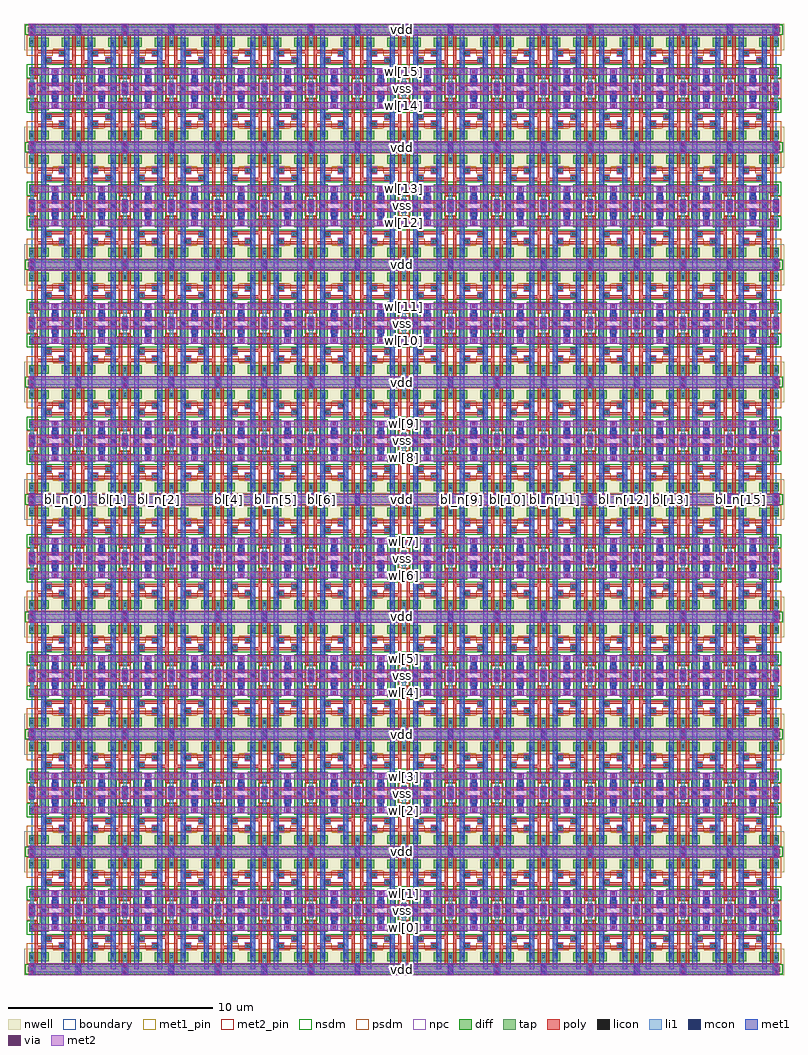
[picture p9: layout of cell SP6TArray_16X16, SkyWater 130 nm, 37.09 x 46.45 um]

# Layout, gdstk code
from math import pi, radians
import gdstk
lib = gdstk.Library(unit=1e-6, precision=1e-09)
def R(c, l, rs):  # rectangles x0, y0, x1, y1
    for r in rs: c.add(gdstk.rectangle(r[:2], r[2:], *l))
def A(c, l, x, y, w, h, nx, ny, dx, dy):  # array of equal rectangles
    R(c, l, [(x+i*dx, y+j*dy, x+i*dx+w, y+j*dy+h) for i in range(nx) for j in range(ny)])
def P(c, l, *ps):  # polygons
    for p in ps: c.add(gdstk.Polygon(p, *l))
nwell = (64, 20)
diff = (65, 20)
tap = (65, 44)
poly = (66, 20)
licon = (66, 44)
li1 = (67, 20)
mcon = (67, 44)
met1_pin = (68, 16)
met1 = (68, 20)
via = (68, 44)
met2_pin = (69, 16)
met2 = (69, 20)
nsdm = (93, 44)
psdm = (94, 20)
npc = (95, 20)
boundary = (235, 4)

sp6tcell = lib.new_cell('SP6TCell')
R(sp6tcell, nwell, [(-0.385,1.87,2.655,3.17)])
R(sp6tcell, diff, [(-0.125,2.05,0.815,2.47), (1.455,2.05,2.395,2.47)])
P(sp6tcell, diff, [(1.455,-0.125),(1.455,1.05),(2.395,1.05),(2.395,0.63),(1.875,0.63),(1.875,-0.125)],
  [(0.395,-0.125),(0.395,0.63),(-0.125,0.63),(-0.125,1.05),(0.815,1.05),(0.815,-0.125)])
R(sp6tcell, tap, [(-0.125,-0.36,0.125,0.36), (2.145,-0.36,2.395,0.36), (-0.205,2.74,2.475,2.99)])
P(sp6tcell, poly, [(1.98,0.5),(1.98,1.235),(0.61,1.235),(0.61,1.505),(0.94,1.505),(0.94,1.385),(1.98,1.385),(1.98,2.6),(2.13,2.6),(2.13,0.5)],
  [(0.14,0.5),(0.14,2.6),(0.29,2.6),(0.29,1.865),(1.66,1.865),(1.66,1.595),(1.33,1.595),(1.33,1.715),(0.29,1.715),(0.29,0.5)],
  [(0.265,0.14),(0.265,0.29),(1,0.29),(1,0.47),(1.27,0.47),(1.27,0.29),(2.005,0.29),(2.005,0.14)])
R(sp6tcell, licon, [(-0.085,-0.085,0.085,0.085), (0.52,-0.085,0.69,0.085), (1.58,-0.085,1.75,0.085), (2.185,-0.085,2.355,0.085), (1.05,0.22,1.22,0.39), (-0.085,0.755,0.085,0.925), (2.185,0.755,2.355,0.925), (0.525,0.84,0.695,1.01), (1.575,0.84,1.745,1.01), (0.69,1.285,0.86,1.455), (1.41,1.645,1.58,1.815), (0.525,2.09,0.695,2.26), (1.575,2.09,1.745,2.26), (-0.085,2.175,0.085,2.345), (2.185,2.175,2.355,2.345), (-0.085,2.78,0.085,2.95), (2.185,2.78,2.355,2.95)])
R(sp6tcell, li1, [(-0.085,-0.265,0.085,1.005), (2.185,-0.265,2.355,1.005), (0.48,-0.165,0.69,0.165), (1.58,-0.165,1.79,0.165), (1.05,0.14,1.22,0.67)])
P(sp6tcell, li1, [(-0.085,2.095),(-0.085,3.13),(0.085,3.13),(0.085,3.03),(2.185,3.03),(2.185,3.13),(2.355,3.13),(2.355,2.095),(2.185,2.095),(2.185,2.7),(0.085,2.7),(0.085,2.095)],
  [(1.575,0.76),(1.575,1.645),(1.33,1.645),(1.33,1.815),(1.575,1.815),(1.575,2.34),(1.745,2.34),(1.745,0.76)],
  [(0.525,0.76),(0.525,2.34),(0.695,2.34),(0.695,1.455),(0.94,1.455),(0.94,1.285),(0.695,1.285),(0.695,0.76)])
R(sp6tcell, mcon, [(-0.085,-0.265,0.085,-0.095), (2.185,-0.265,2.355,-0.095), (0.48,-0.085,0.65,0.085), (1.62,-0.085,1.79,0.085), (-0.085,0.095,0.085,0.265), (2.185,0.095,2.355,0.265), (1.05,0.14,1.22,0.31), (1.05,0.5,1.22,0.67), (-0.085,2.6,0.085,2.77), (2.185,2.6,2.355,2.77), (-0.085,2.96,0.085,3.13), (2.185,2.96,2.355,3.13)])
R(sp6tcell, met1_pin, [(0.45,-0.145,0.68,2.865), (1.59,-0.145,1.82,2.865)])
R(sp6tcell, met1, [(0.45,-0.145,0.68,2.865), (1.59,-0.145,1.82,2.865), (2.125,2.57,2.415,3.16)])
P(sp6tcell, met1, [(0.99,0.11),(0.99,0.7),(0.975,0.7),(0.975,0.96),(1.295,0.96),(1.295,0.7),(1.28,0.7),(1.28,0.11)],
  [(-0.145,-0.295),(-0.145,-0.29),(-0.16,-0.29),(-0.16,0.29),(-0.145,0.29),(-0.145,0.295),(0.145,0.295),(0.145,0.29),(0.16,0.29),(0.16,-0.29),(0.145,-0.29),(0.145,-0.295)],
  [(2.125,-0.295),(2.125,-0.29),(2.11,-0.29),(2.11,0.29),(2.125,0.29),(2.125,0.295),(2.415,0.295),(2.415,0.29),(2.43,0.29),(2.43,-0.29),(2.415,-0.29),(2.415,-0.295)],
  [(-0.145,2.57),(-0.145,2.575),(-0.16,2.575),(-0.16,3.155),(-0.145,3.155),(-0.145,3.16),(0.145,3.16),(0.145,3.155),(0.16,3.155),(0.16,2.575),(0.145,2.575),(0.145,2.57)])
R(sp6tcell, via, [(-0.075,-0.235,0.075,-0.085), (2.195,-0.235,2.345,-0.085), (-0.075,0.085,0.075,0.235), (2.195,0.085,2.345,0.235), (1.06,0.755,1.21,0.905), (-0.075,2.63,0.075,2.78), (-0.075,2.95,0.075,3.1)])
R(sp6tcell, met2_pin, [(-0.16,-0.29,2.43,0.29), (0,0.67,2.27,0.99), (-0.16,2.575,2.43,3.155)])
R(sp6tcell, met2, [(-0.16,-0.29,2.43,0.29), (0,0.67,2.27,0.99), (-0.16,2.575,2.43,3.155)])
R(sp6tcell, nsdm, [(-0.33,2.615,2.6,3.115)])
P(sp6tcell, nsdm, [(0.27,-0.25),(0.27,0.505),(-0.25,0.505),(-0.25,1.175),(2.52,1.175),(2.52,0.505),(2,0.505),(2,-0.25)])
R(sp6tcell, psdm, [(-0.25,-0.485,0.25,0.485), (2.02,-0.485,2.52,0.485)])
P(sp6tcell, psdm, [(-0.25,1.595),(-0.25,2.595),(2.52,2.595),(2.52,1.595),(1.98,1.595),(1.98,1.925),(1.01,1.925),(1.01,1.595)])
R(sp6tcell, npc, [(0.95,0.12,1.32,0.49), (0.59,1.185,0.96,1.555), (1.31,1.545,1.68,1.915)])
R(sp6tcell, boundary, [(0,0,2.27,2.865)])
sp6tcell.add(gdstk.Label('wl', (1.135,0.83), layer=69, texttype=16))
sp6tcell.add(gdstk.Label('vdd', (1.135,2.865), layer=69, texttype=16))
sp6tcell.add(gdstk.Label('vss', (1.135,0), layer=69, texttype=16))
sp6tcell.add(gdstk.Label('bl_n', (1.705,1.36), layer=68, texttype=16))
sp6tcell.add(gdstk.Label('bl', (0.565,1.36), layer=68, texttype=16))

sp6tarray_2x1 = lib.new_cell('SP6TArray_2X1')
R(sp6tarray_2x1, met1_pin, [(0.45,0,0.68,5.73), (1.59,0,1.82,5.73)])
R(sp6tarray_2x1, met1, [(0.45,0,0.68,5.73), (1.59,0,1.82,5.73)])
A(sp6tarray_2x1, met2_pin, -0.16, -0.29, 2.43, 0.58, 1, 3, 0, 2.865)
R(sp6tarray_2x1, met2_pin, [(0,1.875,2.27,2.195), (0,3.535,2.27,3.855)])
A(sp6tarray_2x1, met2, -0.16, -0.29, 2.43, 0.58, 1, 3, 0, 2.865)
R(sp6tarray_2x1, met2, [(0,1.875,2.27,2.195), (0,3.535,2.27,3.855)])
R(sp6tarray_2x1, boundary, [(0,0,2.27,5.73)])
sp6tarray_2x1.add(gdstk.Reference(sp6tcell, (0,2.865)))
sp6tarray_2x1.add(gdstk.Reference(sp6tcell, (0,2.865), x_reflection=True))
sp6tarray_2x1.add(gdstk.Label('wl[1]', (1.135,3.695), layer=69, texttype=16))
sp6tarray_2x1.add(gdstk.Label('wl[0]', (1.135,2.035), layer=69, texttype=16))
sp6tarray_2x1.add(gdstk.Label('vdd', (1.055,0), layer=69, texttype=16))
sp6tarray_2x1.add(gdstk.Label('vdd', (1.055,5.73), layer=69, texttype=16))
sp6tarray_2x1.add(gdstk.Label('vss', (1.055,2.865), layer=69, texttype=16))
sp6tarray_2x1.add(gdstk.Label('bl_n[0]', (1.705,2.865), layer=68, texttype=16))
sp6tarray_2x1.add(gdstk.Label('bl[0]', (0.565,2.865), layer=68, texttype=16))

sp6tarray_2x2 = lib.new_cell('SP6TArray_2X2')
R(sp6tarray_2x2, met1_pin, [(0.45,0,0.68,5.73), (1.59,0,1.82,5.73), (2.72,0,2.95,5.73), (3.86,0,4.09,5.73)])
R(sp6tarray_2x2, met1, [(0.45,0,0.68,5.73), (1.59,0,1.82,5.73), (2.72,0,2.95,5.73), (3.86,0,4.09,5.73)])
A(sp6tarray_2x2, met2_pin, -0.16, -0.29, 4.7, 0.58, 1, 3, 0, 2.865)
R(sp6tarray_2x2, met2_pin, [(0,1.875,4.54,2.195), (0,3.535,4.54,3.855)])
A(sp6tarray_2x2, met2, -0.16, -0.29, 4.7, 0.58, 1, 3, 0, 2.865)
R(sp6tarray_2x2, met2, [(0,1.875,4.54,2.195), (0,3.535,4.54,3.855)])
R(sp6tarray_2x2, boundary, [(0,0,4.54,5.73)])
sp6tarray_2x2.add(gdstk.Reference(sp6tarray_2x1, (4.54,0), rotation=pi, x_reflection=True))
sp6tarray_2x2.add(gdstk.Reference(sp6tarray_2x1, (0,0)))
sp6tarray_2x2.add(gdstk.Label('wl[1]', (2.27,3.695), layer=69, texttype=16))
sp6tarray_2x2.add(gdstk.Label('wl[0]', (2.27,2.035), layer=69, texttype=16))
sp6tarray_2x2.add(gdstk.Label('vdd', (2.19,0), layer=69, texttype=16))
sp6tarray_2x2.add(gdstk.Label('vdd', (2.19,5.73), layer=69, texttype=16))
sp6tarray_2x2.add(gdstk.Label('vss', (2.19,2.865), layer=69, texttype=16))
sp6tarray_2x2.add(gdstk.Label('bl_n[1]', (2.835,2.865), layer=68, texttype=16))
sp6tarray_2x2.add(gdstk.Label('bl[1]', (3.975,2.865), layer=68, texttype=16))
sp6tarray_2x2.add(gdstk.Label('bl_n[0]', (1.705,2.865), layer=68, texttype=16))
sp6tarray_2x2.add(gdstk.Label('bl[0]', (0.565,2.865), layer=68, texttype=16))

sp6tarray_4x2 = lib.new_cell('SP6TArray_4X2')
R(sp6tarray_4x2, met1_pin, [(0.45,0,0.68,11.46), (1.59,0,1.82,11.46), (2.72,0,2.95,11.46), (3.86,0,4.09,11.46)])
R(sp6tarray_4x2, met1, [(0.45,0,0.68,11.46), (1.59,0,1.82,11.46), (2.72,0,2.95,11.46), (3.86,0,4.09,11.46)])
A(sp6tarray_4x2, met2_pin, -0.16, -0.29, 4.7, 0.58, 1, 5, 0, 2.865)
R(sp6tarray_4x2, met2_pin, [(0,1.875,4.54,2.195), (0,3.535,4.54,3.855), (0,7.605,4.54,7.925), (0,9.265,4.54,9.585)])
A(sp6tarray_4x2, met2, -0.16, -0.29, 4.7, 0.58, 1, 5, 0, 2.865)
R(sp6tarray_4x2, met2, [(0,1.875,4.54,2.195), (0,3.535,4.54,3.855), (0,7.605,4.54,7.925), (0,9.265,4.54,9.585)])
R(sp6tarray_4x2, boundary, [(0,0,4.54,11.46)])
sp6tarray_4x2.add(gdstk.Reference(sp6tarray_2x2, (0,0)))
sp6tarray_4x2.add(gdstk.Reference(sp6tarray_2x2, (0,5.73)))
sp6tarray_4x2.add(gdstk.Label('wl[3]', (2.27,9.425), layer=69, texttype=16))
sp6tarray_4x2.add(gdstk.Label('wl[2]', (2.27,7.765), layer=69, texttype=16))
sp6tarray_4x2.add(gdstk.Label('wl[1]', (2.27,3.695), layer=69, texttype=16))
sp6tarray_4x2.add(gdstk.Label('wl[0]', (2.27,2.035), layer=69, texttype=16))
sp6tarray_4x2.add(gdstk.Label('vdd', (2.19,0), layer=69, texttype=16))
sp6tarray_4x2.add(gdstk.Label('vdd', (2.19,5.73), layer=69, texttype=16))
sp6tarray_4x2.add(gdstk.Label('vdd', (2.19,11.46), layer=69, texttype=16))
sp6tarray_4x2.add(gdstk.Label('vss', (2.19,2.865), layer=69, texttype=16))
sp6tarray_4x2.add(gdstk.Label('vss', (2.19,8.595), layer=69, texttype=16))
sp6tarray_4x2.add(gdstk.Label('bl_n[1]', (2.835,5.73), layer=68, texttype=16))
sp6tarray_4x2.add(gdstk.Label('bl[1]', (3.975,5.73), layer=68, texttype=16))
sp6tarray_4x2.add(gdstk.Label('bl_n[0]', (1.705,5.73), layer=68, texttype=16))
sp6tarray_4x2.add(gdstk.Label('bl[0]', (0.565,5.73), layer=68, texttype=16))

sp6tarray_4x4 = lib.new_cell('SP6TArray_4X4')
R(sp6tarray_4x4, met1_pin, [(0.45,0,0.68,11.46), (1.59,0,1.82,11.46), (2.72,0,2.95,11.46), (3.86,0,4.09,11.46), (4.99,0,5.22,11.46), (6.13,0,6.36,11.46), (7.26,0,7.49,11.46), (8.4,0,8.63,11.46)])
R(sp6tarray_4x4, met1, [(0.45,0,0.68,11.46), (1.59,0,1.82,11.46), (2.72,0,2.95,11.46), (3.86,0,4.09,11.46), (4.99,0,5.22,11.46), (6.13,0,6.36,11.46), (7.26,0,7.49,11.46), (8.4,0,8.63,11.46)])
A(sp6tarray_4x4, met2_pin, -0.16, -0.29, 9.24, 0.58, 1, 5, 0, 2.865)
R(sp6tarray_4x4, met2_pin, [(0,1.875,9.08,2.195), (0,3.535,9.08,3.855), (0,7.605,9.08,7.925), (0,9.265,9.08,9.585)])
A(sp6tarray_4x4, met2, -0.16, -0.29, 9.24, 0.58, 1, 5, 0, 2.865)
R(sp6tarray_4x4, met2, [(0,1.875,9.08,2.195), (0,3.535,9.08,3.855), (0,7.605,9.08,7.925), (0,9.265,9.08,9.585)])
R(sp6tarray_4x4, boundary, [(0,0,9.08,11.46)])
sp6tarray_4x4.add(gdstk.Reference(sp6tarray_4x2, (0,0)))
sp6tarray_4x4.add(gdstk.Reference(sp6tarray_4x2, (4.54,0)))
sp6tarray_4x4.add(gdstk.Label('wl[3]', (4.54,9.425), layer=69, texttype=16))
sp6tarray_4x4.add(gdstk.Label('wl[2]', (4.54,7.765), layer=69, texttype=16))
sp6tarray_4x4.add(gdstk.Label('wl[1]', (4.54,3.695), layer=69, texttype=16))
sp6tarray_4x4.add(gdstk.Label('wl[0]', (4.54,2.035), layer=69, texttype=16))
sp6tarray_4x4.add(gdstk.Label('vdd', (4.46,0), layer=69, texttype=16))
sp6tarray_4x4.add(gdstk.Label('vdd', (4.46,5.73), layer=69, texttype=16))
sp6tarray_4x4.add(gdstk.Label('vdd', (4.46,11.46), layer=69, texttype=16))
sp6tarray_4x4.add(gdstk.Label('vss', (4.46,2.865), layer=69, texttype=16))
sp6tarray_4x4.add(gdstk.Label('vss', (4.46,8.595), layer=69, texttype=16))
sp6tarray_4x4.add(gdstk.Label('bl_n[3]', (7.375,5.73), layer=68, texttype=16))
sp6tarray_4x4.add(gdstk.Label('bl[3]', (8.515,5.73), layer=68, texttype=16))
sp6tarray_4x4.add(gdstk.Label('bl_n[2]', (6.245,5.73), layer=68, texttype=16))
sp6tarray_4x4.add(gdstk.Label('bl[2]', (5.105,5.73), layer=68, texttype=16))
sp6tarray_4x4.add(gdstk.Label('bl_n[1]', (2.835,5.73), layer=68, texttype=16))
sp6tarray_4x4.add(gdstk.Label('bl[1]', (3.975,5.73), layer=68, texttype=16))
sp6tarray_4x4.add(gdstk.Label('bl_n[0]', (1.705,5.73), layer=68, texttype=16))
sp6tarray_4x4.add(gdstk.Label('bl[0]', (0.565,5.73), layer=68, texttype=16))

sp6tarray_8x4 = lib.new_cell('SP6TArray_8X4')
R(sp6tarray_8x4, met1_pin, [(0.45,0,0.68,22.92), (1.59,0,1.82,22.92), (2.72,0,2.95,22.92), (3.86,0,4.09,22.92), (4.99,0,5.22,22.92), (6.13,0,6.36,22.92), (7.26,0,7.49,22.92), (8.4,0,8.63,22.92)])
R(sp6tarray_8x4, met1, [(0.45,0,0.68,22.92), (1.59,0,1.82,22.92), (2.72,0,2.95,22.92), (3.86,0,4.09,22.92), (4.99,0,5.22,22.92), (6.13,0,6.36,22.92), (7.26,0,7.49,22.92), (8.4,0,8.63,22.92)])
A(sp6tarray_8x4, met2_pin, -0.16, -0.29, 9.24, 0.58, 1, 9, 0, 2.865)
R(sp6tarray_8x4, met2_pin, [(0,1.875,9.08,2.195), (0,3.535,9.08,3.855), (0,7.605,9.08,7.925), (0,9.265,9.08,9.585), (0,13.335,9.08,13.655), (0,14.995,9.08,15.315), (0,19.065,9.08,19.385), (0,20.725,9.08,21.045)])
A(sp6tarray_8x4, met2, -0.16, -0.29, 9.24, 0.58, 1, 9, 0, 2.865)
R(sp6tarray_8x4, met2, [(0,1.875,9.08,2.195), (0,3.535,9.08,3.855), (0,7.605,9.08,7.925), (0,9.265,9.08,9.585), (0,13.335,9.08,13.655), (0,14.995,9.08,15.315), (0,19.065,9.08,19.385), (0,20.725,9.08,21.045)])
R(sp6tarray_8x4, boundary, [(0,0,9.08,22.92)])
sp6tarray_8x4.add(gdstk.Reference(sp6tarray_4x4, (0,0)))
sp6tarray_8x4.add(gdstk.Reference(sp6tarray_4x4, (0,11.46)))
sp6tarray_8x4.add(gdstk.Label('wl[5]', (4.54,15.155), layer=69, texttype=16))
sp6tarray_8x4.add(gdstk.Label('wl[4]', (4.54,13.495), layer=69, texttype=16))
sp6tarray_8x4.add(gdstk.Label('wl[3]', (4.54,9.425), layer=69, texttype=16))
sp6tarray_8x4.add(gdstk.Label('wl[6]', (4.54,19.225), layer=69, texttype=16))
sp6tarray_8x4.add(gdstk.Label('wl[2]', (4.54,7.765), layer=69, texttype=16))
sp6tarray_8x4.add(gdstk.Label('wl[7]', (4.54,20.885), layer=69, texttype=16))
sp6tarray_8x4.add(gdstk.Label('wl[1]', (4.54,3.695), layer=69, texttype=16))
sp6tarray_8x4.add(gdstk.Label('wl[0]', (4.54,2.035), layer=69, texttype=16))
sp6tarray_8x4.add(gdstk.Label('vdd', (4.46,0), layer=69, texttype=16))
sp6tarray_8x4.add(gdstk.Label('vdd', (4.46,5.73), layer=69, texttype=16))
sp6tarray_8x4.add(gdstk.Label('vdd', (4.46,11.46), layer=69, texttype=16))
sp6tarray_8x4.add(gdstk.Label('vdd', (4.46,17.19), layer=69, texttype=16))
sp6tarray_8x4.add(gdstk.Label('vdd', (4.46,22.92), layer=69, texttype=16))
sp6tarray_8x4.add(gdstk.Label('vss', (4.46,2.865), layer=69, texttype=16))
sp6tarray_8x4.add(gdstk.Label('vss', (4.46,8.595), layer=69, texttype=16))
sp6tarray_8x4.add(gdstk.Label('vss', (4.46,14.325), layer=69, texttype=16))
sp6tarray_8x4.add(gdstk.Label('vss', (4.46,20.055), layer=69, texttype=16))
sp6tarray_8x4.add(gdstk.Label('bl_n[3]', (7.375,11.46), layer=68, texttype=16))
sp6tarray_8x4.add(gdstk.Label('bl[3]', (8.515,11.46), layer=68, texttype=16))
sp6tarray_8x4.add(gdstk.Label('bl_n[2]', (6.245,11.46), layer=68, texttype=16))
sp6tarray_8x4.add(gdstk.Label('bl[2]', (5.105,11.46), layer=68, texttype=16))
sp6tarray_8x4.add(gdstk.Label('bl_n[1]', (2.835,11.46), layer=68, texttype=16))
sp6tarray_8x4.add(gdstk.Label('bl[1]', (3.975,11.46), layer=68, texttype=16))
sp6tarray_8x4.add(gdstk.Label('bl_n[0]', (1.705,11.46), layer=68, texttype=16))
sp6tarray_8x4.add(gdstk.Label('bl[0]', (0.565,11.46), layer=68, texttype=16))

sp6tarray_8x8 = lib.new_cell('SP6TArray_8X8')
R(sp6tarray_8x8, met1_pin, [(0.45,0,0.68,22.92), (1.59,0,1.82,22.92), (2.72,0,2.95,22.92), (3.86,0,4.09,22.92), (4.99,0,5.22,22.92), (6.13,0,6.36,22.92), (7.26,0,7.49,22.92), (8.4,0,8.63,22.92), (9.53,0,9.76,22.92), (10.67,0,10.9,22.92), (11.8,0,12.03,22.92), (12.94,0,13.17,22.92), (14.07,0,14.3,22.92), (15.21,0,15.44,22.92), (16.34,0,16.57,22.92), (17.48,0,17.71,22.92)])
R(sp6tarray_8x8, met1, [(0.45,0,0.68,22.92), (1.59,0,1.82,22.92), (2.72,0,2.95,22.92), (3.86,0,4.09,22.92), (4.99,0,5.22,22.92), (6.13,0,6.36,22.92), (7.26,0,7.49,22.92), (8.4,0,8.63,22.92), (9.53,0,9.76,22.92), (10.67,0,10.9,22.92), (11.8,0,12.03,22.92), (12.94,0,13.17,22.92), (14.07,0,14.3,22.92), (15.21,0,15.44,22.92), (16.34,0,16.57,22.92), (17.48,0,17.71,22.92)])
A(sp6tarray_8x8, met2_pin, -0.16, -0.29, 18.32, 0.58, 1, 9, 0, 2.865)
R(sp6tarray_8x8, met2_pin, [(0,1.875,18.16,2.195), (0,3.535,18.16,3.855), (0,7.605,18.16,7.925), (0,9.265,18.16,9.585), (0,13.335,18.16,13.655), (0,14.995,18.16,15.315), (0,19.065,18.16,19.385), (0,20.725,18.16,21.045)])
A(sp6tarray_8x8, met2, -0.16, -0.29, 18.32, 0.58, 1, 9, 0, 2.865)
R(sp6tarray_8x8, met2, [(0,1.875,18.16,2.195), (0,3.535,18.16,3.855), (0,7.605,18.16,7.925), (0,9.265,18.16,9.585), (0,13.335,18.16,13.655), (0,14.995,18.16,15.315), (0,19.065,18.16,19.385), (0,20.725,18.16,21.045)])
R(sp6tarray_8x8, boundary, [(0,0,18.16,22.92)])
sp6tarray_8x8.add(gdstk.Reference(sp6tarray_8x4, (0,0)))
sp6tarray_8x8.add(gdstk.Reference(sp6tarray_8x4, (9.08,0)))
sp6tarray_8x8.add(gdstk.Label('wl[5]', (9.08,15.155), layer=69, texttype=16))
sp6tarray_8x8.add(gdstk.Label('wl[4]', (9.08,13.495), layer=69, texttype=16))
sp6tarray_8x8.add(gdstk.Label('wl[3]', (9.08,9.425), layer=69, texttype=16))
sp6tarray_8x8.add(gdstk.Label('wl[6]', (9.08,19.225), layer=69, texttype=16))
sp6tarray_8x8.add(gdstk.Label('wl[2]', (9.08,7.765), layer=69, texttype=16))
sp6tarray_8x8.add(gdstk.Label('wl[7]', (9.08,20.885), layer=69, texttype=16))
sp6tarray_8x8.add(gdstk.Label('wl[1]', (9.08,3.695), layer=69, texttype=16))
sp6tarray_8x8.add(gdstk.Label('wl[0]', (9.08,2.035), layer=69, texttype=16))
sp6tarray_8x8.add(gdstk.Label('vdd', (9,0), layer=69, texttype=16))
sp6tarray_8x8.add(gdstk.Label('vdd', (9,5.73), layer=69, texttype=16))
sp6tarray_8x8.add(gdstk.Label('vdd', (9,11.46), layer=69, texttype=16))
sp6tarray_8x8.add(gdstk.Label('vdd', (9,17.19), layer=69, texttype=16))
sp6tarray_8x8.add(gdstk.Label('vdd', (9,22.92), layer=69, texttype=16))
sp6tarray_8x8.add(gdstk.Label('vss', (9,2.865), layer=69, texttype=16))
sp6tarray_8x8.add(gdstk.Label('vss', (9,8.595), layer=69, texttype=16))
sp6tarray_8x8.add(gdstk.Label('vss', (9,14.325), layer=69, texttype=16))
sp6tarray_8x8.add(gdstk.Label('vss', (9,20.055), layer=69, texttype=16))
sp6tarray_8x8.add(gdstk.Label('bl_n[7]', (16.455,11.46), layer=68, texttype=16))
sp6tarray_8x8.add(gdstk.Label('bl[7]', (17.595,11.46), layer=68, texttype=16))
sp6tarray_8x8.add(gdstk.Label('bl_n[6]', (15.325,11.46), layer=68, texttype=16))
sp6tarray_8x8.add(gdstk.Label('bl[0]', (0.565,11.46), layer=68, texttype=16))
sp6tarray_8x8.add(gdstk.Label('bl[5]', (13.055,11.46), layer=68, texttype=16))
sp6tarray_8x8.add(gdstk.Label('bl_n[1]', (2.835,11.46), layer=68, texttype=16))
sp6tarray_8x8.add(gdstk.Label('bl[2]', (5.105,11.46), layer=68, texttype=16))
sp6tarray_8x8.add(gdstk.Label('bl_n[2]', (6.245,11.46), layer=68, texttype=16))
sp6tarray_8x8.add(gdstk.Label('bl_n[0]', (1.705,11.46), layer=68, texttype=16))
sp6tarray_8x8.add(gdstk.Label('bl[3]', (8.515,11.46), layer=68, texttype=16))
sp6tarray_8x8.add(gdstk.Label('bl[1]', (3.975,11.46), layer=68, texttype=16))
sp6tarray_8x8.add(gdstk.Label('bl[4]', (9.645,11.46), layer=68, texttype=16))
sp6tarray_8x8.add(gdstk.Label('bl_n[3]', (7.375,11.46), layer=68, texttype=16))
sp6tarray_8x8.add(gdstk.Label('bl_n[5]', (11.915,11.46), layer=68, texttype=16))
sp6tarray_8x8.add(gdstk.Label('bl_n[4]', (10.785,11.46), layer=68, texttype=16))
sp6tarray_8x8.add(gdstk.Label('bl[6]', (14.185,11.46), layer=68, texttype=16))

sp6tarray_16x8 = lib.new_cell('SP6TArray_16X8')
R(sp6tarray_16x8, met1_pin, [(0.45,0,0.68,45.84), (1.59,0,1.82,45.84), (2.72,0,2.95,45.84), (3.86,0,4.09,45.84), (4.99,0,5.22,45.84), (6.13,0,6.36,45.84), (7.26,0,7.49,45.84), (8.4,0,8.63,45.84), (9.53,0,9.76,45.84), (10.67,0,10.9,45.84), (11.8,0,12.03,45.84), (12.94,0,13.17,45.84), (14.07,0,14.3,45.84), (15.21,0,15.44,45.84), (16.34,0,16.57,45.84), (17.48,0,17.71,45.84)])
R(sp6tarray_16x8, met1, [(0.45,0,0.68,45.84), (1.59,0,1.82,45.84), (2.72,0,2.95,45.84), (3.86,0,4.09,45.84), (4.99,0,5.22,45.84), (6.13,0,6.36,45.84), (7.26,0,7.49,45.84), (8.4,0,8.63,45.84), (9.53,0,9.76,45.84), (10.67,0,10.9,45.84), (11.8,0,12.03,45.84), (12.94,0,13.17,45.84), (14.07,0,14.3,45.84), (15.21,0,15.44,45.84), (16.34,0,16.57,45.84), (17.48,0,17.71,45.84)])
A(sp6tarray_16x8, met2_pin, -0.16, -0.29, 18.32, 0.58, 1, 17, 0, 2.865)
R(sp6tarray_16x8, met2_pin, [(0,1.875,18.16,2.195), (0,3.535,18.16,3.855), (0,7.605,18.16,7.925), (0,9.265,18.16,9.585), (0,13.335,18.16,13.655), (0,14.995,18.16,15.315), (0,19.065,18.16,19.385), (0,20.725,18.16,21.045), (0,24.795,18.16,25.115), (0,26.455,18.16,26.775), (0,30.525,18.16,30.845), (0,32.185,18.16,32.505), (0,36.255,18.16,36.575), (0,37.915,18.16,38.235), (0,41.985,18.16,42.305), (0,43.645,18.16,43.965)])
A(sp6tarray_16x8, met2, -0.16, -0.29, 18.32, 0.58, 1, 17, 0, 2.865)
R(sp6tarray_16x8, met2, [(0,1.875,18.16,2.195), (0,3.535,18.16,3.855), (0,7.605,18.16,7.925), (0,9.265,18.16,9.585), (0,13.335,18.16,13.655), (0,14.995,18.16,15.315), (0,19.065,18.16,19.385), (0,20.725,18.16,21.045), (0,24.795,18.16,25.115), (0,26.455,18.16,26.775), (0,30.525,18.16,30.845), (0,32.185,18.16,32.505), (0,36.255,18.16,36.575), (0,37.915,18.16,38.235), (0,41.985,18.16,42.305), (0,43.645,18.16,43.965)])
R(sp6tarray_16x8, boundary, [(0,0,18.16,45.84)])
sp6tarray_16x8.add(gdstk.Reference(sp6tarray_8x8, (0,0)))
sp6tarray_16x8.add(gdstk.Reference(sp6tarray_8x8, (0,22.92)))
sp6tarray_16x8.add(gdstk.Label('wl[15]', (9.08,43.805), layer=69, texttype=16))
sp6tarray_16x8.add(gdstk.Label('wl[13]', (9.08,38.075), layer=69, texttype=16))
sp6tarray_16x8.add(gdstk.Label('wl[14]', (9.08,42.145), layer=69, texttype=16))
sp6tarray_16x8.add(gdstk.Label('wl[12]', (9.08,36.415), layer=69, texttype=16))
sp6tarray_16x8.add(gdstk.Label('wl[11]', (9.08,32.345), layer=69, texttype=16))
sp6tarray_16x8.add(gdstk.Label('vss', (9,2.865), layer=69, texttype=16))
sp6tarray_16x8.add(gdstk.Label('vss', (9,8.595), layer=69, texttype=16))
sp6tarray_16x8.add(gdstk.Label('vss', (9,14.325), layer=69, texttype=16))
sp6tarray_16x8.add(gdstk.Label('vss', (9,20.055), layer=69, texttype=16))
sp6tarray_16x8.add(gdstk.Label('vss', (9,25.785), layer=69, texttype=16))
sp6tarray_16x8.add(gdstk.Label('vss', (9,31.515), layer=69, texttype=16))
sp6tarray_16x8.add(gdstk.Label('vss', (9,37.245), layer=69, texttype=16))
sp6tarray_16x8.add(gdstk.Label('vss', (9,42.975), layer=69, texttype=16))
sp6tarray_16x8.add(gdstk.Label('wl[8]', (9.08,24.955), layer=69, texttype=16))
sp6tarray_16x8.add(gdstk.Label('vdd', (9,22.92), layer=69, texttype=16))
sp6tarray_16x8.add(gdstk.Label('vdd', (9,22.92), layer=69, texttype=16))
sp6tarray_16x8.add(gdstk.Label('vdd', (9,0), layer=69, texttype=16))
sp6tarray_16x8.add(gdstk.Label('vdd', (9,5.73), layer=69, texttype=16))
sp6tarray_16x8.add(gdstk.Label('vdd', (9,11.46), layer=69, texttype=16))
sp6tarray_16x8.add(gdstk.Label('vdd', (9,17.19), layer=69, texttype=16))
sp6tarray_16x8.add(gdstk.Label('vdd', (9,28.65), layer=69, texttype=16))
sp6tarray_16x8.add(gdstk.Label('vdd', (9,34.38), layer=69, texttype=16))
sp6tarray_16x8.add(gdstk.Label('vdd', (9,40.11), layer=69, texttype=16))
sp6tarray_16x8.add(gdstk.Label('vdd', (9,45.84), layer=69, texttype=16))
sp6tarray_16x8.add(gdstk.Label('wl[0]', (9.08,2.035), layer=69, texttype=16))
sp6tarray_16x8.add(gdstk.Label('wl[1]', (9.08,3.695), layer=69, texttype=16))
sp6tarray_16x8.add(gdstk.Label('wl[7]', (9.08,20.885), layer=69, texttype=16))
sp6tarray_16x8.add(gdstk.Label('wl[2]', (9.08,7.765), layer=69, texttype=16))
sp6tarray_16x8.add(gdstk.Label('wl[3]', (9.08,9.425), layer=69, texttype=16))
sp6tarray_16x8.add(gdstk.Label('wl[4]', (9.08,13.495), layer=69, texttype=16))
sp6tarray_16x8.add(gdstk.Label('wl[9]', (9.08,26.615), layer=69, texttype=16))
sp6tarray_16x8.add(gdstk.Label('wl[6]', (9.08,19.225), layer=69, texttype=16))
sp6tarray_16x8.add(gdstk.Label('wl[10]', (9.08,30.685), layer=69, texttype=16))
sp6tarray_16x8.add(gdstk.Label('wl[5]', (9.08,15.155), layer=69, texttype=16))
sp6tarray_16x8.add(gdstk.Label('bl_n[7]', (16.455,22.92), layer=68, texttype=16))
sp6tarray_16x8.add(gdstk.Label('bl[7]', (17.595,22.92), layer=68, texttype=16))
sp6tarray_16x8.add(gdstk.Label('bl_n[6]', (15.325,22.92), layer=68, texttype=16))
sp6tarray_16x8.add(gdstk.Label('bl[0]', (0.565,22.92), layer=68, texttype=16))
sp6tarray_16x8.add(gdstk.Label('bl[5]', (13.055,22.92), layer=68, texttype=16))
sp6tarray_16x8.add(gdstk.Label('bl_n[1]', (2.835,22.92), layer=68, texttype=16))
sp6tarray_16x8.add(gdstk.Label('bl[2]', (5.105,22.92), layer=68, texttype=16))
sp6tarray_16x8.add(gdstk.Label('bl_n[2]', (6.245,22.92), layer=68, texttype=16))
sp6tarray_16x8.add(gdstk.Label('bl_n[0]', (1.705,22.92), layer=68, texttype=16))
sp6tarray_16x8.add(gdstk.Label('bl[3]', (8.515,22.92), layer=68, texttype=16))
sp6tarray_16x8.add(gdstk.Label('bl[1]', (3.975,22.92), layer=68, texttype=16))
sp6tarray_16x8.add(gdstk.Label('bl[4]', (9.645,22.92), layer=68, texttype=16))
sp6tarray_16x8.add(gdstk.Label('bl_n[3]', (7.375,22.92), layer=68, texttype=16))
sp6tarray_16x8.add(gdstk.Label('bl_n[5]', (11.915,22.92), layer=68, texttype=16))
sp6tarray_16x8.add(gdstk.Label('bl_n[4]', (10.785,22.92), layer=68, texttype=16))
sp6tarray_16x8.add(gdstk.Label('bl[6]', (14.185,22.92), layer=68, texttype=16))

sp6tarray_16x16 = lib.new_cell('SP6TArray_16X16')
R(sp6tarray_16x16, met1_pin, [(0.45,0,0.68,45.84), (1.59,0,1.82,45.84), (2.72,0,2.95,45.84), (3.86,0,4.09,45.84), (4.99,0,5.22,45.84), (6.13,0,6.36,45.84), (7.26,0,7.49,45.84), (8.4,0,8.63,45.84), (9.53,0,9.76,45.84), (10.67,0,10.9,45.84), (11.8,0,12.03,45.84), (12.94,0,13.17,45.84), (14.07,0,14.3,45.84), (15.21,0,15.44,45.84), (16.34,0,16.57,45.84), (17.48,0,17.71,45.84), (18.61,0,18.84,45.84), (19.75,0,19.98,45.84), (20.88,0,21.11,45.84), (22.02,0,22.25,45.84), (23.15,0,23.38,45.84), (24.29,0,24.52,45.84), (25.42,0,25.65,45.84), (26.56,0,26.79,45.84), (27.69,0,27.92,45.84), (28.83,0,29.06,45.84), (29.96,0,30.19,45.84), (31.1,0,31.33,45.84), (32.23,0,32.46,45.84), (33.37,0,33.6,45.84), (34.5,0,34.73,45.84), (35.64,0,35.87,45.84)])
R(sp6tarray_16x16, met1, [(0.45,0,0.68,45.84), (1.59,0,1.82,45.84), (2.72,0,2.95,45.84), (3.86,0,4.09,45.84), (4.99,0,5.22,45.84), (6.13,0,6.36,45.84), (7.26,0,7.49,45.84), (8.4,0,8.63,45.84), (9.53,0,9.76,45.84), (10.67,0,10.9,45.84), (11.8,0,12.03,45.84), (12.94,0,13.17,45.84), (14.07,0,14.3,45.84), (15.21,0,15.44,45.84), (16.34,0,16.57,45.84), (17.48,0,17.71,45.84), (18.61,0,18.84,45.84), (19.75,0,19.98,45.84), (20.88,0,21.11,45.84), (22.02,0,22.25,45.84), (23.15,0,23.38,45.84), (24.29,0,24.52,45.84), (25.42,0,25.65,45.84), (26.56,0,26.79,45.84), (27.69,0,27.92,45.84), (28.83,0,29.06,45.84), (29.96,0,30.19,45.84), (31.1,0,31.33,45.84), (32.23,0,32.46,45.84), (33.37,0,33.6,45.84), (34.5,0,34.73,45.84), (35.64,0,35.87,45.84)])
A(sp6tarray_16x16, met2_pin, -0.16, -0.29, 36.48, 0.58, 1, 17, 0, 2.865)
R(sp6tarray_16x16, met2_pin, [(0,1.875,36.32,2.195), (0,3.535,36.32,3.855), (0,7.605,36.32,7.925), (0,9.265,36.32,9.585), (0,13.335,36.32,13.655), (0,14.995,36.32,15.315), (0,19.065,36.32,19.385), (0,20.725,36.32,21.045), (0,24.795,36.32,25.115), (0,26.455,36.32,26.775), (0,30.525,36.32,30.845), (0,32.185,36.32,32.505), (0,36.255,36.32,36.575), (0,37.915,36.32,38.235), (0,41.985,36.32,42.305), (0,43.645,36.32,43.965)])
A(sp6tarray_16x16, met2, -0.16, -0.29, 36.48, 0.58, 1, 17, 0, 2.865)
R(sp6tarray_16x16, met2, [(0,1.875,36.32,2.195), (0,3.535,36.32,3.855), (0,7.605,36.32,7.925), (0,9.265,36.32,9.585), (0,13.335,36.32,13.655), (0,14.995,36.32,15.315), (0,19.065,36.32,19.385), (0,20.725,36.32,21.045), (0,24.795,36.32,25.115), (0,26.455,36.32,26.775), (0,30.525,36.32,30.845), (0,32.185,36.32,32.505), (0,36.255,36.32,36.575), (0,37.915,36.32,38.235), (0,41.985,36.32,42.305), (0,43.645,36.32,43.965)])
R(sp6tarray_16x16, boundary, [(0,0,36.32,45.84)])
sp6tarray_16x16.add(gdstk.Reference(sp6tarray_16x8, (0,0)))
sp6tarray_16x16.add(gdstk.Reference(sp6tarray_16x8, (18.16,0)))
sp6tarray_16x16.add(gdstk.Label('wl[15]', (18.16,43.805), layer=69, texttype=16))
sp6tarray_16x16.add(gdstk.Label('wl[13]', (18.16,38.075), layer=69, texttype=16))
sp6tarray_16x16.add(gdstk.Label('wl[14]', (18.16,42.145), layer=69, texttype=16))
sp6tarray_16x16.add(gdstk.Label('wl[12]', (18.16,36.415), layer=69, texttype=16))
sp6tarray_16x16.add(gdstk.Label('wl[11]', (18.16,32.345), layer=69, texttype=16))
sp6tarray_16x16.add(gdstk.Label('vss', (18.08,2.865), layer=69, texttype=16))
sp6tarray_16x16.add(gdstk.Label('vss', (18.08,8.595), layer=69, texttype=16))
sp6tarray_16x16.add(gdstk.Label('vss', (18.08,14.325), layer=69, texttype=16))
sp6tarray_16x16.add(gdstk.Label('vss', (18.08,20.055), layer=69, texttype=16))
sp6tarray_16x16.add(gdstk.Label('vss', (18.08,25.785), layer=69, texttype=16))
sp6tarray_16x16.add(gdstk.Label('vss', (18.08,31.515), layer=69, texttype=16))
sp6tarray_16x16.add(gdstk.Label('vss', (18.08,37.245), layer=69, texttype=16))
sp6tarray_16x16.add(gdstk.Label('vss', (18.08,42.975), layer=69, texttype=16))
sp6tarray_16x16.add(gdstk.Label('wl[8]', (18.16,24.955), layer=69, texttype=16))
sp6tarray_16x16.add(gdstk.Label('vdd', (18.08,22.92), layer=69, texttype=16))
sp6tarray_16x16.add(gdstk.Label('vdd', (18.08,22.92), layer=69, texttype=16))
sp6tarray_16x16.add(gdstk.Label('vdd', (18.08,0), layer=69, texttype=16))
sp6tarray_16x16.add(gdstk.Label('vdd', (18.08,5.73), layer=69, texttype=16))
sp6tarray_16x16.add(gdstk.Label('vdd', (18.08,11.46), layer=69, texttype=16))
sp6tarray_16x16.add(gdstk.Label('vdd', (18.08,17.19), layer=69, texttype=16))
sp6tarray_16x16.add(gdstk.Label('vdd', (18.08,28.65), layer=69, texttype=16))
sp6tarray_16x16.add(gdstk.Label('vdd', (18.08,34.38), layer=69, texttype=16))
sp6tarray_16x16.add(gdstk.Label('vdd', (18.08,40.11), layer=69, texttype=16))
sp6tarray_16x16.add(gdstk.Label('vdd', (18.08,45.84), layer=69, texttype=16))
sp6tarray_16x16.add(gdstk.Label('wl[0]', (18.16,2.035), layer=69, texttype=16))
sp6tarray_16x16.add(gdstk.Label('wl[1]', (18.16,3.695), layer=69, texttype=16))
sp6tarray_16x16.add(gdstk.Label('wl[7]', (18.16,20.885), layer=69, texttype=16))
sp6tarray_16x16.add(gdstk.Label('wl[2]', (18.16,7.765), layer=69, texttype=16))
sp6tarray_16x16.add(gdstk.Label('wl[3]', (18.16,9.425), layer=69, texttype=16))
sp6tarray_16x16.add(gdstk.Label('wl[4]', (18.16,13.495), layer=69, texttype=16))
sp6tarray_16x16.add(gdstk.Label('wl[9]', (18.16,26.615), layer=69, texttype=16))
sp6tarray_16x16.add(gdstk.Label('wl[6]', (18.16,19.225), layer=69, texttype=16))
sp6tarray_16x16.add(gdstk.Label('wl[10]', (18.16,30.685), layer=69, texttype=16))
sp6tarray_16x16.add(gdstk.Label('wl[5]', (18.16,15.155), layer=69, texttype=16))
sp6tarray_16x16.add(gdstk.Label('bl_n[15]', (34.615,22.92), layer=68, texttype=16))
sp6tarray_16x16.add(gdstk.Label('bl_n[14]', (33.485,22.92), layer=68, texttype=16))
sp6tarray_16x16.add(gdstk.Label('bl[6]', (14.185,22.92), layer=68, texttype=16))
sp6tarray_16x16.add(gdstk.Label('bl_n[5]', (11.915,22.92), layer=68, texttype=16))
sp6tarray_16x16.add(gdstk.Label('bl_n[9]', (20.995,22.92), layer=68, texttype=16))
sp6tarray_16x16.add(gdstk.Label('bl[10]', (23.265,22.92), layer=68, texttype=16))
sp6tarray_16x16.add(gdstk.Label('bl[4]', (9.645,22.92), layer=68, texttype=16))
sp6tarray_16x16.add(gdstk.Label('bl_n[4]', (10.785,22.92), layer=68, texttype=16))
sp6tarray_16x16.add(gdstk.Label('bl_n[11]', (25.535,22.92), layer=68, texttype=16))
sp6tarray_16x16.add(gdstk.Label('bl[1]', (3.975,22.92), layer=68, texttype=16))
sp6tarray_16x16.add(gdstk.Label('bl_n[0]', (1.705,22.92), layer=68, texttype=16))
sp6tarray_16x16.add(gdstk.Label('bl[3]', (8.515,22.92), layer=68, texttype=16))
sp6tarray_16x16.add(gdstk.Label('bl_n[2]', (6.245,22.92), layer=68, texttype=16))
sp6tarray_16x16.add(gdstk.Label('bl_n[1]', (2.835,22.92), layer=68, texttype=16))
sp6tarray_16x16.add(gdstk.Label('bl[5]', (13.055,22.92), layer=68, texttype=16))
sp6tarray_16x16.add(gdstk.Label('bl[0]', (0.565,22.92), layer=68, texttype=16))
sp6tarray_16x16.add(gdstk.Label('bl_n[6]', (15.325,22.92), layer=68, texttype=16))
sp6tarray_16x16.add(gdstk.Label('bl[2]', (5.105,22.92), layer=68, texttype=16))
sp6tarray_16x16.add(gdstk.Label('bl[7]', (17.595,22.92), layer=68, texttype=16))
sp6tarray_16x16.add(gdstk.Label('bl_n[7]', (16.455,22.92), layer=68, texttype=16))
sp6tarray_16x16.add(gdstk.Label('bl[9]', (22.135,22.92), layer=68, texttype=16))
sp6tarray_16x16.add(gdstk.Label('bl_n[10]', (24.405,22.92), layer=68, texttype=16))
sp6tarray_16x16.add(gdstk.Label('bl[11]', (26.675,22.92), layer=68, texttype=16))
sp6tarray_16x16.add(gdstk.Label('bl_n[12]', (28.945,22.92), layer=68, texttype=16))
sp6tarray_16x16.add(gdstk.Label('bl_n[8]', (19.865,22.92), layer=68, texttype=16))
sp6tarray_16x16.add(gdstk.Label('bl[12]', (27.805,22.92), layer=68, texttype=16))
sp6tarray_16x16.add(gdstk.Label('bl[15]', (35.755,22.92), layer=68, texttype=16))
sp6tarray_16x16.add(gdstk.Label('bl_n[3]', (7.375,22.92), layer=68, texttype=16))
sp6tarray_16x16.add(gdstk.Label('bl[8]', (18.725,22.92), layer=68, texttype=16))
sp6tarray_16x16.add(gdstk.Label('bl[13]', (31.215,22.92), layer=68, texttype=16))
sp6tarray_16x16.add(gdstk.Label('bl_n[13]', (30.075,22.92), layer=68, texttype=16))
sp6tarray_16x16.add(gdstk.Label('bl[14]', (32.345,22.92), layer=68, texttype=16))

lib.write_gds('SP6TArray_16X16.gds')
